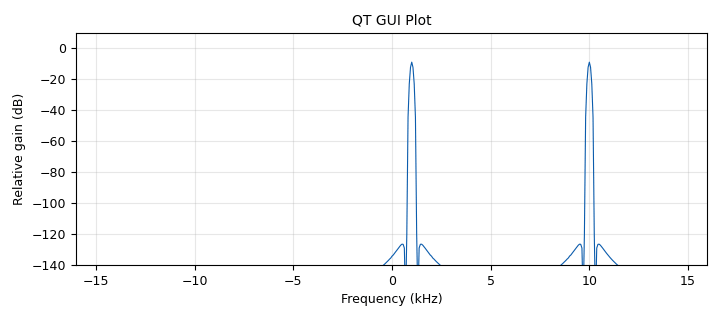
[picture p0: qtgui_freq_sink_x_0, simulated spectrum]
<?xml version='1.0' encoding='utf-8'?>
<flow_graph>
<block>
<key>analog_sig_source_x</key>
<param><key>id</key><value>analog_sig_source_x_0_0</value></param>
<param><key>type</key><value>complex</value></param>
<param><key>samp_rate</key><value>samp_rate</value></param>
<param><key>waveform</key><value>analog.GR_COS_WAVE</value></param>
<param><key>freq</key><value>10e3</value></param>
<param><key>amp</key><value>1</value></param>
<param><key>offset</key><value>0</value></param>
</block>
<block>
<key>variable</key>
<param><key>id</key><value>samp_rate</value></param>
<param><key>value</key><value>32000</value></param>
</block>
<block>
<key>blocks_add_xx</key>
<param><key>id</key><value>blocks_add_xx_0</value></param>
<param><key>type</key><value>complex</value></param>
</block>
<block>
<key>analog_sig_source_x</key>
<param><key>id</key><value>analog_sig_source_x_0</value></param>
<param><key>type</key><value>complex</value></param>
<param><key>samp_rate</key><value>samp_rate</value></param>
<param><key>waveform</key><value>analog.GR_COS_WAVE</value></param>
<param><key>freq</key><value>1e3</value></param>
<param><key>amp</key><value>1</value></param>
<param><key>offset</key><value>0</value></param>
</block>
<block>
<key>blocks_throttle</key>
<param><key>id</key><value>blocks_throttle_0</value></param>
<param><key>type</key><value>complex</value></param>
<param><key>samples_per_second</key><value>samp_rate</value></param>
</block>
<block>
<key>options</key>
<param><key>id</key><value>generator</value></param>
<param><key>generate_options</key><value>qt_gui</value></param>
<param><key>category</key><value>Custom</value></param>
</block>
<block>
<key>variable_qtgui_chooser</key>
<param><key>id</key><value>channels</value></param>
<param><key>label</key><value>Channels</value></param>
<param><key>type</key><value>int</value></param>
<param><key>num_opts</key><value>3</value></param>
<param><key>value</key><value>0</value></param>
<param><key>option0</key><value>0</value></param>
<param><key>label0</key><value>512</value></param>
<param><key>option1</key><value>1</value></param>
<param><key>label1</key><value>1024</value></param>
<param><key>option2</key><value>2</value></param>
<param><key>label2</key><value>2048</value></param>
<param><key>widget</key><value>radio_buttons</value></param>
<param><key>orient</key><value>Qt.QHBoxLayout</value></param>
</block>
<block>
<key>qtgui_freq_sink_x</key>
<param><key>id</key><value>qtgui_freq_sink_x_0</value></param>
<param><key>type</key><value>complex</value></param>
<param><key>name</key><value>QT GUI Plot</value></param>
<param><key>fftsize</key><value>pow(2,channels+9)</value></param>
<param><key>wintype</key><value>firdes.WIN_BLACKMAN_hARRIS</value></param>
<param><key>fc</key><value>0</value></param>
<param><key>bw</key><value>samp_rate</value></param>
</block>
<connection><source_block_id>analog_sig_source_x_0</source_block_id><sink_block_id>blocks_add_xx_0</sink_block_id><source_key>0</source_key><sink_key>0</sink_key></connection>
<connection><source_block_id>analog_sig_source_x_0_0</source_block_id><sink_block_id>blocks_add_xx_0</sink_block_id><source_key>0</source_key><sink_key>1</sink_key></connection>
<connection><source_block_id>blocks_add_xx_0</source_block_id><sink_block_id>blocks_throttle_0</sink_block_id><source_key>0</source_key><sink_key>0</sink_key></connection>
<connection><source_block_id>blocks_throttle_0</source_block_id><sink_block_id>qtgui_freq_sink_x_0</sink_block_id><source_key>0</source_key><sink_key>0</sink_key></connection>
</flow_graph>
